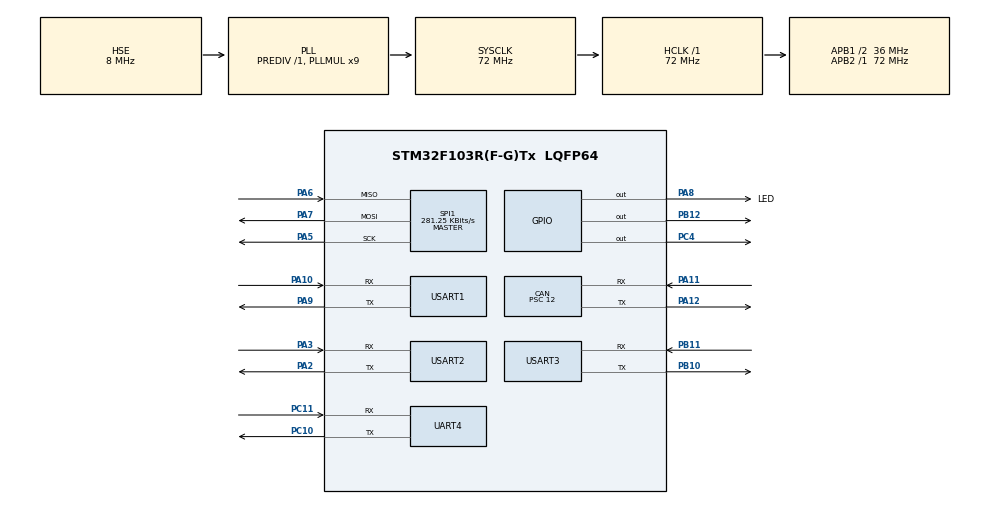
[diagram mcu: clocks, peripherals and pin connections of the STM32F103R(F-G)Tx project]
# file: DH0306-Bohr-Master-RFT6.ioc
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CAN.BS1=CAN_BS1_2TQ
CAN.BS2=CAN_BS2_3TQ
CAN.CalculateBaudRate=499999
CAN.CalculateTimeBit=2000
CAN.CalculateTimeQuantum=333.33333333333337
CAN.Mode=CAN_MODE_NORMAL
CAN.NART=ENABLE
CAN.Prescaler=12
CAN.SJW=CAN_SJW_2TQ
Dma.Request0=USART2_RX
Dma.Request1=USART1_TX
Dma.Request2=UART4_TX
Dma.Request3=USART2_TX
Dma.Request4=USART1_RX
Dma.UART4_TX.2.Direction=DMA_MEMORY_TO_PERIPH
Dma.UART4_TX.2.Instance=DMA2_Channel5
Dma.UART4_TX.2.MemDataAlignment=DMA_MDATAALIGN_BYTE
Dma.UART4_TX.2.MemInc=DMA_MINC_ENABLE
Dma.UART4_TX.2.Mode=DMA_NORMAL
Dma.UART4_TX.2.PeriphDataAlignment=DMA_PDATAALIGN_BYTE
Dma.UART4_TX.2.PeriphInc=DMA_PINC_DISABLE
Dma.UART4_TX.2.Priority=DMA_PRIORITY_MEDIUM
Dma.USART1_RX.4.Direction=DMA_PERIPH_TO_MEMORY
Dma.USART1_RX.4.Instance=DMA1_Channel5
Dma.USART1_RX.4.MemDataAlignment=DMA_MDATAALIGN_BYTE
Dma.USART1_RX.4.MemInc=DMA_MINC_ENABLE
Dma.USART1_RX.4.Mode=DMA_CIRCULAR
Dma.USART1_RX.4.PeriphDataAlignment=DMA_PDATAALIGN_BYTE
Dma.USART1_RX.4.PeriphInc=DMA_PINC_DISABLE
Dma.USART1_RX.4.Priority=DMA_PRIORITY_MEDIUM
Dma.USART1_TX.1.Direction=DMA_MEMORY_TO_PERIPH
Dma.USART1_TX.1.Instance=DMA1_Channel4
Dma.USART1_TX.1.MemDataAlignment=DMA_MDATAALIGN_BYTE
Dma.USART1_TX.1.MemInc=DMA_MINC_ENABLE
Dma.USART1_TX.1.Mode=DMA_NORMAL
Dma.USART1_TX.1.PeriphDataAlignment=DMA_PDATAALIGN_BYTE
Dma.USART1_TX.1.PeriphInc=DMA_PINC_DISABLE
Dma.USART1_TX.1.Priority=DMA_PRIORITY_MEDIUM
Dma.USART2_RX.0.Direction=DMA_PERIPH_TO_MEMORY
Dma.USART2_RX.0.Instance=DMA1_Channel6
Dma.USART2_RX.0.MemDataAlignment=DMA_MDATAALIGN_BYTE
Dma.USART2_RX.0.MemInc=DMA_MINC_ENABLE
Dma.USART2_RX.0.Mode=DMA_CIRCULAR
Dma.USART2_RX.0.PeriphDataAlignment=DMA_PDATAALIGN_BYTE
Dma.USART2_RX.0.PeriphInc=DMA_PINC_DISABLE
Dma.USART2_RX.0.Priority=DMA_PRIORITY_LOW
Dma.USART2_TX.3.Direction=DMA_MEMORY_TO_PERIPH
Dma.USART2_TX.3.Instance=DMA1_Channel7
Dma.USART2_TX.3.MemDataAlignment=DMA_MDATAALIGN_BYTE
Dma.USART2_TX.3.MemInc=DMA_MINC_ENABLE
Dma.USART2_TX.3.Mode=DMA_NORMAL
Dma.USART2_TX.3.PeriphDataAlignment=DMA_PDATAALIGN_BYTE
Dma.USART2_TX.3.PeriphInc=DMA_PINC_DISABLE
Dma.USART2_TX.3.Priority=DMA_PRIORITY_LOW
Mcu.Family=STM32F1
Mcu.Name=STM32F103R(F-G)Tx
Mcu.Package=LQFP64
NVIC.DMA1_Channel4_IRQn=true\:0\:0\:false\:false\:true\:false\:true\:true
NVIC.DMA1_Channel5_IRQn=true\:0\:0\:false\:false\:true\:false\:true\:true
NVIC.DMA1_Channel6_IRQn=true\:0\:0\:false\:false\:true\:false\:true\:true
NVIC.DMA1_Channel7_IRQn=true\:0\:0\:false\:false\:true\:false\:true\:true
NVIC.DMA2_Channel4_5_IRQn=true\:0\:0\:false\:false\:true\:false\:true\:true
NVIC.PriorityGroup=NVIC_PRIORITYGROUP_4
NVIC.TIM4_IRQn=true\:0\:0\:false\:false\:true\:true\:true\:true
NVIC.UART4_IRQn=true\:0\:0\:false\:false\:true\:true\:true\:true
NVIC.USART1_IRQn=true\:0\:0\:false\:false\:true\:true\:true\:true
NVIC.USART2_IRQn=true\:0\:0\:false\:false\:true\:true\:true\:true
NVIC.USART3_IRQn=true\:0\:0\:false\:false\:true\:true\:true\:true
NVIC.USB_LP_CAN1_RX0_IRQn=true\:0\:0\:false\:false\:true\:true\:true\:true
PA10.Mode=Asynchronous
PA10.Signal=USART1_RX
PA11.Mode=CAN_Activate
PA11.Signal=CAN_RX
PA12.Mode=CAN_Activate
PA12.Signal=CAN_TX
PA13.Mode=Serial_Wire
PA13.Signal=SYS_JTMS-SWDIO
PA14.Mode=Serial_Wire
PA14.Signal=SYS_JTCK-SWCLK
PA2.Mode=Asynchronous
PA2.Signal=USART2_TX
PA3.Mode=Asynchronous
PA3.Signal=USART2_RX
PA5.Mode=Full_Duplex_Master
PA5.Signal=SPI1_SCK
PA6.Mode=Full_Duplex_Master
PA6.Signal=SPI1_MISO
PA7.Mode=Full_Duplex_Master
PA7.Signal=SPI1_MOSI
PA8.GPIO_Label=LED
PA8.Signal=GPIO_Output
PA9.Mode=Asynchronous
PA9.Signal=USART1_TX
PB10.Mode=Asynchronous
PB10.Signal=USART3_TX
PB11.Mode=Asynchronous
PB11.Signal=USART3_RX
PB12.Signal=GPIO_Output
PC10.Mode=Asynchronous
PC10.Signal=UART4_TX
PC11.Mode=Asynchronous
PC11.Signal=UART4_RX
PC4.Signal=GPIO_Output
PD0-OSC_IN.Mode=HSE-External-Oscillator
PD0-OSC_IN.Signal=RCC_OSC_IN
PD1-OSC_OUT.Mode=HSE-External-Oscillator
PD1-OSC_OUT.Signal=RCC_OSC_OUT
ProjectManager.HeapSize=0x200
ProjectManager.StackSize=0x400
ProjectManager.TargetToolchain=STM32CubeIDE
RCC.AHBFreq_Value=72000000
RCC.APB1CLKDivider=RCC_HCLK_DIV2
RCC.APB1Freq_Value=36000000
RCC.APB1TimFreq_Value=72000000
RCC.APB2Freq_Value=72000000
RCC.APB2TimFreq_Value=72000000
RCC.HCLKFreq_Value=72000000
RCC.PLLMUL=RCC_PLL_MUL9
RCC.PLLSourceVirtual=RCC_PLLSOURCE_HSE
RCC.SYSCLKFreq_VALUE=72000000
RCC.SYSCLKSource=RCC_SYSCLKSOURCE_PLLCLK
RCC.USBFreq_Value=72000000
SPI1.BaudRatePrescaler=SPI_BAUDRATEPRESCALER_256
SPI1.CalculateBaudRate=281.25 KBits/s
SPI1.Direction=SPI_DIRECTION_2LINES
SPI1.Mode=SPI_MODE_MASTER
SPI1.VirtualType=VM_MASTER
TIM4.Period=999
TIM4.Prescaler=71
UART4.VirtualMode=Asynchronous
USART1.VirtualMode=VM_ASYNC
USART2.VirtualMode=VM_ASYNC
USART3.VirtualMode=VM_ASYNC
VP_TIM4_VS_ClockSourceINT.Mode=Internal
board=custom

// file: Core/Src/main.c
/* USER CODE BEGIN Header */
/**
 ******************************************************************************
 * @file           : main.c
 * @brief          : Main program body
 ******************************************************************************
 * @attention
 *
 * Copyright (c) 2026 STMicroelectronics.
 * All rights reserved.
 *
 * This software is licensed under terms that can be found in the LICENSE file
 * in the root directory of this software component.
 * If no LICENSE file comes with this software, it is provided AS-IS.
 *
 ******************************************************************************
 */
/* USER CODE END Header */
#include "main.h"
#include "can.h"
#include "dma.h"
#include "spi.h"
#include "tim.h"
#include "usart.h"
#include "gpio.h"

/* USER CODE BEGIN Includes */
#include "sfud.h"
#include <string.h>
#include "hmi_control.h"
#include "sensor_control.h"
#include "esp32.h"
#include "power_control.h"
#include "drv_can.h"
#include "host_control.h"
#include <stdio.h>
#include <unistd.h>
/* USER CODE END Includes */

void SystemClock_Config(void);

/* USER CODE BEGIN 0 */
//sfud_flash *g_flash = NULL; /* flash读写全局指针 */
sfud_err sfud_result;
const sfud_flash *g_flash;
/* USER CODE END 0 */

int main(void)
{

  /* MCU Configuration--------------------------------------------------------*/

  /* Reset of all peripherals, Initializes the Flash interface and the Systick. */
  HAL_Init();

  /* Configure the system clock */
  SystemClock_Config();

  /* Initialize all configured peripherals */
  MX_GPIO_Init();
  MX_DMA_Init();
  MX_USART1_UART_Init();
  MX_USART2_UART_Init();
  MX_USART3_UART_Init();
  MX_SPI1_Init();
  MX_UART4_Init();
  MX_TIM4_Init();
  MX_CAN_Init();
  /* USER CODE BEGIN 2 */
	// 初始化 SFUD 设备
	printf("\r\n====== SFUD 初始化 ======\r\n");
	/* -------- 第一步：初始化 -------- */
	sfud_result = sfud_init();
	if (sfud_result != SFUD_SUCCESS) {
		printf("[FAIL] sfud_init 失败，错误码: %d\r\n", sfud_result);
		printf("  → 检查 sfud_port.c 的 SPI 读写函数和 CS 引脚1\r\n");
		return 0;
	}
	printf("[PASS] sfud_init 成功\r\n");

	/* -------- 第二步：获取设备 -------- */
	g_flash = sfud_get_device(SFUD_W25Q128_DEVICE_INDEX);  // 换成你的设备索引
	if (g_flash == NULL) {
		printf("[FAIL] 获取 Flash 设备失败\r\n");
		printf("  → 检查 sfud_cfg.h 的 SFUD_FLASH_DEVICE_TABLE 配置\r\n");
		return 0;
	}
	printf("[PASS] 获取设备成功: %s\r\n", g_flash->name);
	printf("       容量: %lu KB\r\n", g_flash->chip.capacity / 1024);
	printf("       写粒度: %u Bytes\r\n", g_flash->chip.write_mode);

  HAL_Delay(2000);
  // 获取flash数据
  GetFlashData();

  /*启动定时器4中断*/
  HAL_TIM_Base_Start_IT(&htim4);
//   Sensor_Control_Init();
//   Sensor_Control_Start_Mode1();

  //初始化电机周期
  HAL_UART_Transmit_DMA(&huart4, motor_cycle_msg, 6);

  // CAN通讯
// DRV_CAN_InitFilterList16(0x00A << 5, 0x00A << 5, 0x00A << 5, 0x00A << 5);
  DRV_CAN_InitFilterMask16(0x00, 0x00, 0x00, 0x00);
  DRV_CAN_Start(); // 开始CAN传输
  Control_Init(); // 初始化CAN接收处理回调函数

  /* USER CODE END 2 */

  /* Infinite loop */
  /* USER CODE BEGIN WHILE */
	while (1) {
	//HAL_GPIO_TogglePin(GPIOB, GPIO_PIN_12);
	touch_hmi_task_callback();	//串口屏幕控制 3us
	ESP32_232_communication_task_callback();// 处理ESP32从机指令 3us
	host_communication_task_callback();//3us
	power_communication_task_callback();// 处理电源板从机指令 3us
	FilterByDampedNum(damping_num);//2us

	DRV_CAN_ProcessData();//2us
	collect_data_task_callback();//2us

    /* USER CODE END WHILE */

	}
}

void SystemClock_Config(void)
{
  RCC_OscInitTypeDef RCC_OscInitStruct = {0};
  RCC_ClkInitTypeDef RCC_ClkInitStruct = {0};

  /** Initializes the RCC Oscillators according to the specified parameters
  * in the RCC_OscInitTypeDef structure.
  */
  RCC_OscInitStruct.OscillatorType = RCC_OSCILLATORTYPE_HSE;
  RCC_OscInitStruct.HSEState = RCC_HSE_ON;
  RCC_OscInitStruct.HSEPredivValue = RCC_HSE_PREDIV_DIV1;
  RCC_OscInitStruct.HSIState = RCC_HSI_ON;
  RCC_OscInitStruct.PLL.PLLState = RCC_PLL_ON;
  RCC_OscInitStruct.PLL.PLLSource = RCC_PLLSOURCE_HSE;
  RCC_OscInitStruct.PLL.PLLMUL = RCC_PLL_MUL9;
  if (HAL_RCC_OscConfig(&RCC_OscInitStruct) != HAL_OK)
  {
    Error_Handler();
  }

  /** Initializes the CPU, AHB and APB buses clocks
  */
  RCC_ClkInitStruct.ClockType = RCC_CLOCKTYPE_HCLK|RCC_CLOCKTYPE_SYSCLK
                              |RCC_CLOCKTYPE_PCLK1|RCC_CLOCKTYPE_PCLK2;
  RCC_ClkInitStruct.SYSCLKSource = RCC_SYSCLKSOURCE_PLLCLK;
  RCC_ClkInitStruct.AHBCLKDivider = RCC_SYSCLK_DIV1;
  RCC_ClkInitStruct.APB1CLKDivider = RCC_HCLK_DIV2;
  RCC_ClkInitStruct.APB2CLKDivider = RCC_HCLK_DIV1;

  if (HAL_RCC_ClockConfig(&RCC_ClkInitStruct, FLASH_LATENCY_2) != HAL_OK)
  {
    Error_Handler();
  }
}

/* USER CODE BEGIN 4 */
// 用这个替换 fputc，newlib-nano 走的是 _write
int _write(int fd, char *pBuffer, int size) {
	HAL_UART_Transmit(&huart1, (uint8_t*) pBuffer, size, HAL_MAX_DELAY);
//	HAL_UART_Transmit_DMA(&huart1, (uint8_t*) pBuffer, size);
	return size;
}

void sfud_test(void) {
	sfud_err result;
	const sfud_flash *flash;

	printf("\r\n====== SFUD 移植测试开始 ======\r\n");

	/* -------- 第一步：初始化 -------- */
	result = sfud_init();
	if (result != SFUD_SUCCESS) {
		printf("[FAIL] sfud_init 失败，错误码: %d\r\n", result);
		printf("  → 检查 sfud_port.c 的 SPI 读写函数和 CS 引脚\r\n");
		return;
	}
	printf("[PASS] sfud_init 成功\r\n");

	/* -------- 第二步：获取设备 -------- */
	flash = sfud_get_device(SFUD_W25Q128_DEVICE_INDEX);  // 换成你的设备索引
	if (flash == NULL) {
		printf("[FAIL] 获取 Flash 设备失败\r\n");
		printf("  → 检查 sfud_cfg.h 的 SFUD_FLASH_DEVICE_TABLE 配置\r\n");
		return;
	}
	printf("[PASS] 获取设备成功: %s\r\n", flash->name);
	printf("       容量: %lu KB\r\n", flash->chip.capacity / 1024);
	printf("       写粒度: %u Bytes\r\n", flash->chip.write_mode);

	/* -------- 第三步：擦除测试 -------- */
	uint32_t test_addr = 0x000000;   // 测试用的起始地址（第0扇区）
	uint32_t test_size = 4096;       // 一个扇区大小

	printf("\r\n[TEST] 擦除地址 0x%06lX，大小 %lu Bytes...\r\n", test_addr, test_size);
	result = sfud_erase(flash, test_addr, test_size);
	if (result != SFUD_SUCCESS) {
		printf("[FAIL] 擦除失败，错误码: %d\r\n", result);
		return;
	}
	printf("[PASS] 擦除成功\r\n");

	/* -------- 第四步：擦除校验（读回应为 0xFF）-------- */
	uint8_t verify_buf[64];
	result = sfud_read(flash, test_addr, sizeof(verify_buf), verify_buf);
	if (result != SFUD_SUCCESS) {
		printf("[FAIL] 擦除后读取失败，错误码: %d\r\n", result);
		return;
	}
	uint8_t erase_ok = 1;
	for (int i = 0; i < sizeof(verify_buf); i++) {
		if (verify_buf[i] != 0xFF) {
			erase_ok = 0;
			break;
		}
	}
	if (!erase_ok) {
		printf("[FAIL] 擦除校验失败，数据不全为 0xFF\r\n");
		printf("  → 检查 SPI 时序 / Flash 型号是否匹配\r\n");
		return;
	}
	printf("[PASS] 擦除校验通过（全 0xFF）\r\n");

	/* -------- 第五步：写入测试 -------- */
	uint8_t write_buf[64];
	for (int i = 0; i < sizeof(write_buf); i++)
		write_buf[i] = i;  // 写入 0x00~0x3F

	printf("\r\n[TEST] 写入 %d Bytes 到地址 0x%06lX...\r\n", sizeof(write_buf),
			test_addr);
	// result = sfud_write(flash, test_addr, sizeof(write_buf), write_buf);
	sfud_erase_write(flash, test_addr, sizeof(write_buf), write_buf);
	if (result != SFUD_SUCCESS) {
		printf("[FAIL] 写入失败，错误码: %d\r\n", result);
		return;
	}
	printf("[PASS] 写入成功\r\n");

	/* -------- 第六步：读回校验 -------- */
	uint8_t read_buf[64];
	memset(read_buf, 0, sizeof(read_buf));

	result = sfud_read(flash, test_addr, sizeof(read_buf), read_buf);
	if (result != SFUD_SUCCESS) {
		printf("[FAIL] 读取失败，错误码: %d\r\n", result);
		return;
	}

	if (memcmp(write_buf, read_buf, sizeof(write_buf)) != 0) {
		printf("[FAIL] 读写数据不一致！\r\n");
		printf("  写入: ");
		for (int i = 0; i < 16; i++)
			printf("%02X ", write_buf[i]);
		printf("\r\n  读回: ");
		for (int i = 0; i < 16; i++)
			printf("%02X ", read_buf[i]);
		printf("\r\n  → 检查 SPI CPOL/CPHA 极性，或 DMA/Cache 对齐问题\r\n");
		return;
	}
	printf("[PASS] 读写校验通过\r\n");

	/* -------- 测试结束 -------- */
	printf("\r\n====== 所有测试通过，移植成功！======\r\n");
}

void test_flash_jedec_id(void) {
	uint8_t cmd = 0x9F;          // Read JEDEC ID 命令
	uint8_t id[3] = { 0 };

	HAL_GPIO_WritePin(GPIOC, GPIO_PIN_4, GPIO_PIN_RESET);
	HAL_SPI_Transmit(&hspi1, &cmd, 1, 100);
	HAL_SPI_Receive(&hspi1, id, 3, 100);
	HAL_GPIO_WritePin(GPIOC, GPIO_PIN_4, GPIO_PIN_SET);

	printf("JEDEC ID: %02X %02X %02X\r\n", id[0], id[1], id[2]);
	// W25Q128BV 正确结果应为: EF 40 18
}
/* USER CODE END 4 */

void Error_Handler(void)
{
	__disable_irq();
	while (1) {
	}
}
#ifdef USE_FULL_ASSERT
/**
  * @brief  Reports the name of the source file and the source line number
  *         where the assert_param error has occurred.
  * @param  file: pointer to the source file name
  * @param  line: assert_param error line source number
  * @retval None
  */
void assert_failed(uint8_t *file, uint32_t line)
{
  /* USER CODE BEGIN 6 */
  /* User can add his own implementation to report the file name and line
     number, ex: printf("Wrong parameters value: file %s on line %d\r\n", file,
     line) */
  /* USER CODE END 6 */
}
#endif /* USE_FULL_ASSERT */
